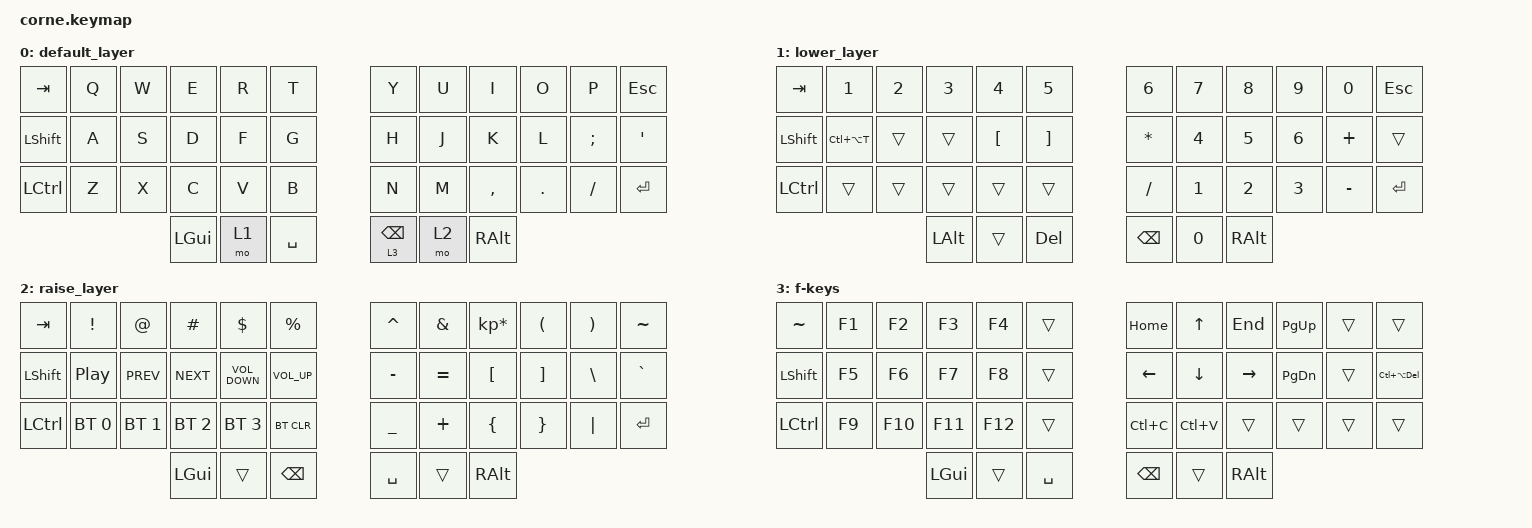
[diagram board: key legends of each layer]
/*
 * Copyright (c) 2020 The ZMK Contributors
 *
 * SPDX-License-Identifier: MIT
 */

#include <behaviors.dtsi>
#include <dt-bindings/zmk/bt.h>
#include <dt-bindings/zmk/keys.h>

/ {
    combos {
        compatible = "zmk,combos";

        Ctrl_Shift_Esc {
            bindings = <&kp LC(LS(ESCAPE))>;
            key-positions = <24 12 0>;
            layers = <0>;
        };
    };

    keymap {
        compatible = "zmk,keymap";

        default_layer {
            // -----------------------------------------------------------------------------------------
            // |  TAB |  Q  |  W  |  E  |  R  |  T  |   |  Y  |  U   |  I  |  O  |  P  | ESC |
            // | CTRL |  A  |  S  |  D  |  F  |  G  |   |  H  |  J   |  K  |  L  |  ;  |  '   |
            // | SHFT |  Z  |  X  |  C  |  V  |  B  |   |  N  |  M   |  ,  |  .  |  /  | BKSP  |
            //                    | GUI | LWR | SPC |   | ENT | RSE  | ALT |

            bindings = <
&kp TAB         &kp Q  &kp W  &kp E     &kp R  &kp T        &kp Y            &kp U  &kp I      &kp O    &kp P     &kp ESC
&kp LEFT_SHIFT  &kp A  &kp S  &kp D     &kp F  &kp G        &kp H            &kp J  &kp K      &kp L    &kp SEMI  &kp SQT
&kp LCTRL       &kp Z  &kp X  &kp C     &kp V  &kp B        &kp N            &kp M  &kp COMMA  &kp DOT  &kp FSLH  &kp ENTER
                              &kp LGUI  &mo 1  &kp SPACE    &lt 3 BACKSPACE  &mo 2  &kp RALT
            >;
        };

        lower_layer {
            // -----------------------------------------------------------------------------------------
            // |  TAB |  1  |  2  |  3  |  4  |  5  |   |  6  |  7  |  8  |  9  |  0  |  |
            // | BTCLR| BT1 | BT2 | BT3 | BT4 | BT5 |   | LFT | DWN |  UP | RGT |     | BTCLRAll|
            // | SHFT |     |     |     |     |     |   |     |     |     |     |     | BKSP |
            //                    | LAlt |     | SPC |   | ENT |     | ALT |

            bindings = <
&kp TAB         &kp N1         &kp N2  &kp N3    &kp N4            &kp N5               &kp N6         &kp N7  &kp N8    &kp N9  &kp N0     &kp ESC
&kp LEFT_SHIFT  &kp LC(LA(T))  &trans  &trans    &kp LEFT_BRACKET  &kp RIGHT_BRACKET    &kp ASTERISK   &kp N4  &kp N5    &kp N6  &kp PLUS   &trans
&kp LCTRL       &trans         &trans  &trans    &trans            &trans               &kp SLASH      &kp N1  &kp N2    &kp N3  &kp MINUS  &kp ENTER
                                       &kp LALT  &trans            &kp DEL              &kp BACKSPACE  &kp N0  &kp RALT
            >;
        };

        raise_layer {
            // -----------------------------------------------------------------------------------------
            // |  TAB |  !    |  @  |  #  |  $  |  %  |   |  ^  |  &  |  *  |  (  |  )  |  ~ |
            // | CTRL | PG_UP | HOME|     |     |     |   |  -  |  =  |  [  |  ]  |  \  |  `   |
            // | SHFT | PG_DWN| END |     |     |     |   |  _  |  +  |  {  |  }  | "|" | DEL   |
            //                      | GUI |     | SPC |   | ENT |     | ALT |

            bindings = <
&kp TAB     &kp EXCL          &kp AT        &kp HASH      &kp DLLR           &kp PRCNT          &kp CARET  &kp AMPS   &kp KP_MULTIPLY  &kp LPAR  &kp RPAR  &kp TILDE
&kp LSHIFT  &kp C_PLAY_PAUSE  &kp C_PREV    &kp C_NEXT    &kp C_VOLUME_DOWN  &kp C_VOLUME_UP    &kp MINUS  &kp EQUAL  &kp LBKT         &kp RBKT  &kp BSLH  &kp GRAVE
&kp LCTRL   &bt BT_SEL 0      &bt BT_SEL 1  &bt BT_SEL 2  &bt BT_SEL 3       &bt BT_CLR         &kp UNDER  &kp PLUS   &kp LBRC         &kp RBRC  &kp PIPE  &kp ENTER
                                            &kp LGUI      &trans             &kp BACKSPACE      &kp SPACE  &trans     &kp RALT
            >;
        };

        f-keys {
            bindings = <
&kp TILDE   &kp F1  &kp F2   &kp F3        &kp F4   &trans       &kp HOME       &kp UP     &kp END        &kp PAGE_UP    &trans  &trans
&kp LSHIFT  &kp F5  &kp F6   &kp F7        &kp F8   &trans       &kp LEFT       &kp DOWN   &kp RIGHT      &kp PAGE_DOWN  &trans  &kp LC(LA(DEL))
&kp LCTRL   &kp F9  &kp F10  &kp F11       &kp F12  &trans       &kp LC(C)      &kp LC(V)  &trans         &trans         &trans  &trans
                             &kp LEFT_GUI  &trans   &kp SPACE    &kp BACKSPACE  &trans     &kp RIGHT_ALT
            >;
        };
    };
};
